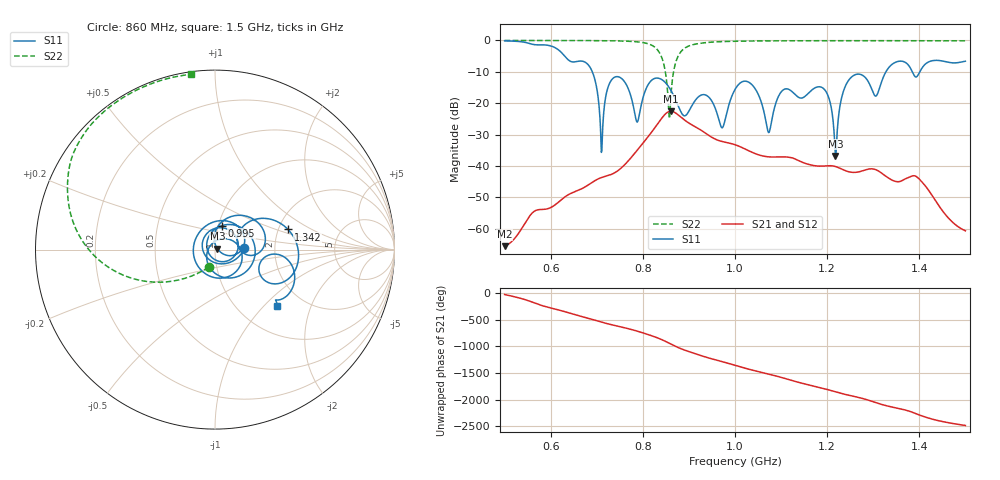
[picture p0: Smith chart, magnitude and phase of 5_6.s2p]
! TOUCHSTONE file generated by CST MICROWAVE STUDIO
! Date and time: Tue Nov 17 07:10:17 2020
! Project name: Scenario_1_Planar_Body_Tissue_Out_of_Line.cst
! Header version: 2018
! Port assignment regex: !\s*Touchstone port\s*([0-9]+)\s*=\s*(CST MWS port|CST DS port)\s*([0-9]+|Zmin|Zmax)\s*\(\"(.*)\"\)(\s*mode\s*([0-9]+))?.*
! Touchstone port assignment:
! Touchstone port 1 = CST MWS port 1 ("")
! Touchstone port 2 = CST MWS port 2 ("")
# GHz S DB R 50
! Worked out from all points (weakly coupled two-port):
!   1003 points, 500 MHz to 1.5 GHz, reference 50 ohm
!   highest |S21| = -22.55 dB at 861 MHz (marker M1); lowest = -65.6 dB at 500 MHz (marker M2)
!   lowest |S11| = -36.8 dB at 1.218 GHz (marker M3), VSWR 1.03, Z = 51.4 + j0.461 ohm
!   |S11| at or under -10 dB: 690.3 MHz to 1.328 GHz (637.2 MHz wide, 63.2 % of centre); 1.385 GHz to 1.401 GHz (16.32 MHz wide, 1.17 % of centre)
!   |S22| runs from -24.9 to 0.0 dB; largest |S21 - S12| = 1.5e-05
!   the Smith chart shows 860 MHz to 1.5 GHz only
!   S11 on the Smith chart (normalised r, x): 860 MHz: 1.39, +0.02; 995 MHz: 1.04, +0.28; 1.342 GHz: 2.26, +0.62; 1.5 GHz: 1.49, -1.19
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0.5  -0.15 -121.7  -65.55 -27.9  -65.55 -27.9  -0.01 151.2
0.667  -6.58 145.5  -47.29 -80.2  -47.29 -80.2  -0.04 138.4
0.711  -35.07 170.8  -43.65 172.7  -43.65 172.7  -0.08 133.5
0.736  -11.97 167.4  -42.40 117.6  -42.40 117.6  -0.13 129.9
0.788  -26.01 135.2  -34.95 4.7  -34.95 4.7  -0.45 117.6
0.834  -12.04 83.9  -26.19 -128.6  -26.19 -128.6  -3.43 83.3
0.86  -15.68 2.8  -22.55 125.3  -22.55 125.3  -19.74 -109.2
0.861  -15.93 -0.7  -22.55 120.9  -22.55 120.9  -17.42 -119.6
0.888  -23.88 -124.2  -25.08 18.0  -25.08 18.0  -2.78 177.8
0.935  -17.33 24.6  -29.45 -118.0  -29.45 -118.0  -0.73 152.7
0.972  -27.85 -153.6  -32.20 153.3  -32.20 153.3  -0.37 144.4
0.995  -17.11 73.8  -33.00 96.3  -33.00 96.3  -0.28 140.9
1  -15.63 57.5  -33.23 83.5  -33.23 83.5  -0.27 140.2
1.073  -29.38 147.5  -37.09 -80.9  -37.09 -80.9  -0.14 132.1
1.103  -15.96 -18.7  -37.06 -149.3  -37.06 -149.3  -0.12 129.4
1.167  -15.78 81.7  -39.75 61.4  -39.75 61.4  -0.10 124.2
1.199  -16.70 -1.5  -39.94 -7.2  -39.94 -7.2  -0.09 121.7
1.218  -36.84 18.1  -40.18 -54.1  -40.18 -54.1  -0.09 120.3
1.248  -12.43 53.1  -41.88 -120.0  -41.88 -120.0  -0.09 118.0
1.334  -8.60 25.7  -43.93 33.7  -43.93 33.7  -0.09 111.5
1.342  -7.49 15.4  -44.58 18.0  -44.58 18.0  -0.09 110.9
1.5  -6.62 -42.1  -60.66 35.0  -60.66 35.0  -0.13 97.9
